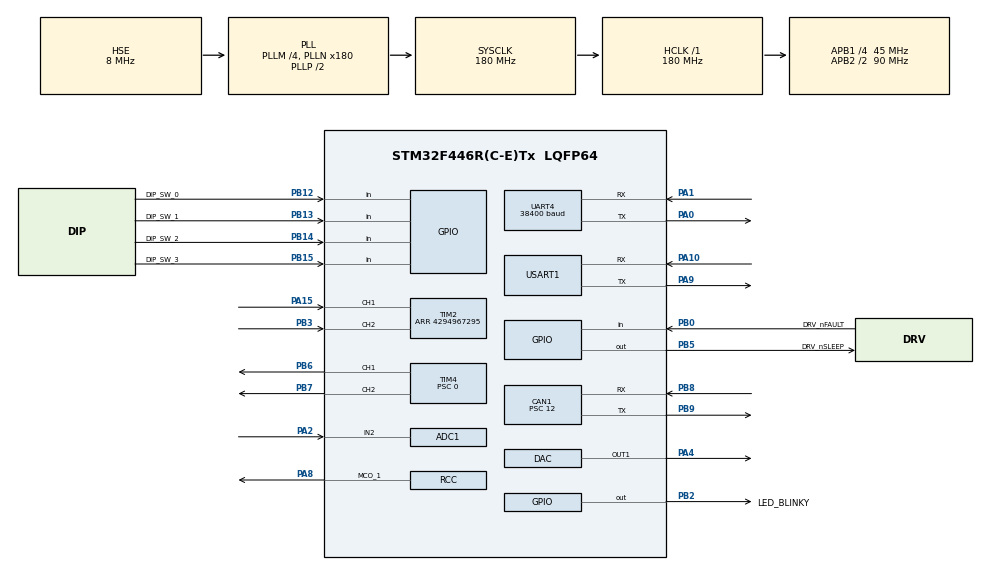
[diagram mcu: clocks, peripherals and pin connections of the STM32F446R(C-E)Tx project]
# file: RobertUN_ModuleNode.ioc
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ADC1.Channel-0\#ChannelRegularConversion=ADC_CHANNEL_2
ADC1.ClockPrescaler=ADC_CLOCK_SYNC_PCLK_DIV4
ADC1.NbrOfConversionFlag=1
ADC1.Rank-0\#ChannelRegularConversion=1
ADC1.SamplingTime-0\#ChannelRegularConversion=ADC_SAMPLETIME_28CYCLES
ADC1.master=1
CAN1.ABOM=ENABLE
CAN1.BS1=CAN_BS1_12TQ
CAN1.BS2=CAN_BS2_2TQ
CAN1.CalculateBaudRate=250000
CAN1.CalculateTimeBit=4000
CAN1.CalculateTimeQuantum=266.66666666666663
CAN1.NART=ENABLE
CAN1.Prescaler=12
CAN1.SJW=CAN_SJW_2TQ
DAC.DAC_OutputBuffer-DAC_OUT1=DAC_OUTPUTBUFFER_ENABLE
DAC.DAC_Trigger-DAC_OUT1=DAC_TRIGGER_NONE
Dma.Request0=USART1_RX
Dma.Request1=USART1_TX
Dma.Request2=UART4_RX
Dma.Request3=UART4_TX
Dma.UART4_RX.2.Direction=DMA_PERIPH_TO_MEMORY
Dma.UART4_RX.2.FIFOMode=DMA_FIFOMODE_DISABLE
Dma.UART4_RX.2.Instance=DMA1_Stream2
Dma.UART4_RX.2.MemDataAlignment=DMA_MDATAALIGN_BYTE
Dma.UART4_RX.2.MemInc=DMA_MINC_ENABLE
Dma.UART4_RX.2.Mode=DMA_CIRCULAR
Dma.UART4_RX.2.PeriphDataAlignment=DMA_PDATAALIGN_BYTE
Dma.UART4_RX.2.PeriphInc=DMA_PINC_DISABLE
Dma.UART4_RX.2.Priority=DMA_PRIORITY_LOW
Dma.UART4_TX.3.Direction=DMA_MEMORY_TO_PERIPH
Dma.UART4_TX.3.FIFOMode=DMA_FIFOMODE_DISABLE
Dma.UART4_TX.3.Instance=DMA1_Stream4
Dma.UART4_TX.3.MemDataAlignment=DMA_MDATAALIGN_BYTE
Dma.UART4_TX.3.MemInc=DMA_MINC_ENABLE
Dma.UART4_TX.3.Mode=DMA_NORMAL
Dma.UART4_TX.3.PeriphDataAlignment=DMA_PDATAALIGN_BYTE
Dma.UART4_TX.3.PeriphInc=DMA_PINC_DISABLE
Dma.UART4_TX.3.Priority=DMA_PRIORITY_LOW
Dma.USART1_RX.0.Direction=DMA_PERIPH_TO_MEMORY
Dma.USART1_RX.0.FIFOMode=DMA_FIFOMODE_DISABLE
Dma.USART1_RX.0.Instance=DMA2_Stream2
Dma.USART1_RX.0.MemDataAlignment=DMA_MDATAALIGN_BYTE
Dma.USART1_RX.0.MemInc=DMA_MINC_ENABLE
Dma.USART1_RX.0.Mode=DMA_CIRCULAR
Dma.USART1_RX.0.PeriphDataAlignment=DMA_PDATAALIGN_BYTE
Dma.USART1_RX.0.PeriphInc=DMA_PINC_DISABLE
Dma.USART1_RX.0.Priority=DMA_PRIORITY_LOW
Dma.USART1_TX.1.Direction=DMA_MEMORY_TO_PERIPH
Dma.USART1_TX.1.FIFOMode=DMA_FIFOMODE_DISABLE
Dma.USART1_TX.1.Instance=DMA2_Stream7
Dma.USART1_TX.1.MemDataAlignment=DMA_MDATAALIGN_BYTE
Dma.USART1_TX.1.MemInc=DMA_MINC_ENABLE
Dma.USART1_TX.1.Mode=DMA_NORMAL
Dma.USART1_TX.1.PeriphDataAlignment=DMA_PDATAALIGN_BYTE
Dma.USART1_TX.1.PeriphInc=DMA_PINC_DISABLE
Dma.USART1_TX.1.Priority=DMA_PRIORITY_LOW
Mcu.Family=STM32F4
Mcu.Name=STM32F446R(C-E)Tx
Mcu.Package=LQFP64
NVIC.CAN1_RX0_IRQn=true\:1\:0\:true\:false\:true\:true\:true\:true
NVIC.DMA1_Stream2_IRQn=true\:0\:0\:false\:false\:true\:false\:true\:true
NVIC.DMA1_Stream4_IRQn=true\:0\:0\:false\:false\:true\:false\:true\:true
NVIC.DMA2_Stream2_IRQn=true\:0\:0\:false\:false\:true\:false\:true\:true
NVIC.DMA2_Stream7_IRQn=true\:0\:0\:false\:false\:true\:false\:true\:true
NVIC.PriorityGroup=NVIC_PRIORITYGROUP_4
NVIC.TIM6_DAC_IRQn=true\:0\:0\:false\:false\:true\:true\:true\:true
NVIC.TIM7_IRQn=true\:0\:0\:false\:false\:true\:true\:true\:true
NVIC.UART4_IRQn=true\:0\:0\:false\:false\:true\:true\:true\:true
NVIC.USART1_IRQn=true\:0\:0\:false\:false\:true\:true\:true\:true
PA0-WKUP.Mode=Asynchronous
PA0-WKUP.Signal=UART4_TX
PA1.Mode=Asynchronous
PA1.Signal=UART4_RX
PA10.Mode=Asynchronous
PA10.Signal=USART1_RX
PA15.Signal=S_TIM2_CH1_ETR
PA2.Signal=ADCx_IN2
PA4.Signal=COMP_DAC1_group
PA8.GPIO_Speed=GPIO_SPEED_FREQ_VERY_HIGH
PA8.Mode=Clock-out-1
PA8.Signal=RCC_MCO_1
PA9.Mode=Asynchronous
PA9.Signal=USART1_TX
PB0.GPIO_Label=DRV_nFAULT
PB0.GPIO_PuPd=GPIO_PULLUP
PB0.Signal=GPIO_Input
PB12.GPIO_Label=DIP_SW_0
PB12.GPIO_PuPd=GPIO_PULLUP
PB12.Signal=GPIO_Input
PB13.GPIO_Label=DIP_SW_1
PB13.GPIO_PuPd=GPIO_PULLUP
PB13.Signal=GPIO_Input
PB14.GPIO_Label=DIP_SW_2
PB14.GPIO_PuPd=GPIO_PULLUP
PB14.Signal=GPIO_Input
PB15.GPIO_Label=DIP_SW_3
PB15.GPIO_PuPd=GPIO_PULLUP
PB15.Signal=GPIO_Input
PB2.GPIO_Label=LED_BLINKY
PB2.Signal=GPIO_Output
PB3.Signal=S_TIM2_CH2
PB5.GPIO_Label=DRV_nSLEEP
PB5.Signal=GPIO_Output
PB6.Signal=S_TIM4_CH1
PB7.Signal=S_TIM4_CH2
PB8.Mode=CAN_Activate
PB8.Signal=CAN1_RX
PB9.Mode=CAN_Activate
PB9.Signal=CAN1_TX
PC14-OSC32_IN.Mode=LSE-External-Oscillator
PC14-OSC32_IN.Signal=RCC_OSC32_IN
PC15-OSC32_OUT.Mode=LSE-External-Oscillator
PC15-OSC32_OUT.Signal=RCC_OSC32_OUT
PH0-OSC_IN.Mode=HSE-External-Oscillator
PH0-OSC_IN.Signal=RCC_OSC_IN
PH1-OSC_OUT.Mode=HSE-External-Oscillator
PH1-OSC_OUT.Signal=RCC_OSC_OUT
ProjectManager.HeapSize=0x200
ProjectManager.StackSize=0x400
ProjectManager.TargetToolchain=CMake
RCC.AHBFreq_Value=180000000
RCC.APB1CLKDivider=RCC_HCLK_DIV4
RCC.APB1Freq_Value=45000000
RCC.APB1TimFreq_Value=90000000
RCC.APB2CLKDivider=RCC_HCLK_DIV2
RCC.APB2Freq_Value=90000000
RCC.APB2TimFreq_Value=180000000
RCC.CortexFreq_Value=180000000
RCC.HCLKFreq_Value=180000000
RCC.HSE_VALUE=8000000
RCC.PLLM=4
RCC.PLLN=180
RCC.PLLSourceVirtual=RCC_PLLSOURCE_HSE
RCC.RCC_MCO1Source=RCC_MCO1SOURCE_HSE
RCC.RCC_MCO2Source=RCC_MCO2SOURCE_PLLCLK
RCC.RCC_MCODiv2=RCC_MCODIV_5
RCC.SYSCLKFreq_VALUE=180000000
RCC.SYSCLKSource=RCC_SYSCLKSOURCE_PLLCLK
RCC.USBFreq_Value=180000000
RCC.VCOOutputFreq_Value=360000000
SH.ADCx_IN2.0=ADC1_IN2,IN2
SH.COMP_DAC1_group.0=DAC_OUT1,DAC_OUT1
SH.S_TIM2_CH1_ETR.0=TIM2_CH1,Encoder_Interface
SH.S_TIM2_CH2.0=TIM2_CH2,Encoder_Interface
SH.S_TIM4_CH1.0=TIM4_CH1,PWM Generation1 CH1
SH.S_TIM4_CH2.0=TIM4_CH2,PWM Generation2 CH2
TIM2.EncoderMode=TIM_ENCODERMODE_TI12
TIM2.IC1Filter=15
TIM2.IC2Filter=15
TIM2.Period=4294967295
TIM4.AutoReloadPreload=TIM_AUTORELOAD_PRELOAD_ENABLE
TIM4.Channel-PWM\ Generation1\ CH1=TIM_CHANNEL_1
TIM4.Channel-PWM\ Generation2\ CH2=TIM_CHANNEL_2
TIM4.Period=4499
TIM4.Prescaler=0
TIM6.AutoReloadPreload=TIM_AUTORELOAD_PRELOAD_ENABLE
TIM6.Period=999
TIM6.Prescaler=89
TIM7.AutoReloadPreload=TIM_AUTORELOAD_PRELOAD_ENABLE
TIM7.Period=25000
TIM7.Prescaler=1800
UART4.BaudRate=38400
UART4.VirtualMode=Asynchronous
USART1.VirtualMode=VM_ASYNC
VP_TIM6_VS_ClockSourceINT.Mode=Enable_Timer
VP_TIM7_VS_ClockSourceINT.Mode=Enable_Timer
board=custom

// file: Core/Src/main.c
/* USER CODE BEGIN Header */
/**
  ******************************************************************************
  * @file           : main.c
  * @brief          : Main program body
  ******************************************************************************
  * @attention
  *
  * Copyright (c) 2026 STMicroelectronics.
  * All rights reserved.
  *
  * This software is licensed under terms that can be found in the LICENSE file
  * in the root directory of this software component.
  * If no LICENSE file comes with this software, it is provided AS-IS.
  *
  ******************************************************************************
  */
/* USER CODE END Header */
#include "main.h"

/* USER CODE BEGIN Includes */
/* claude --resume 436a6188-32d4-441d-abe8-485a62b8645e */
#include "debug_uart.h"
#include "can_bus.h"
#include "console.h"
#include "mks_servo.h"
#include "encoder.h"
#include "drive.h"
#include "velocity.h"
#include "isense.h"
#include "config.h"
#include "dipsw.h"
#include "motion.h"
#include "can_cmd.h"
#include "steer.h"
/* USER CODE END Includes */

ADC_HandleTypeDef hadc1;

CAN_HandleTypeDef hcan1;

DAC_HandleTypeDef hdac;

TIM_HandleTypeDef htim2;
TIM_HandleTypeDef htim4;
TIM_HandleTypeDef htim6;
TIM_HandleTypeDef htim7;

UART_HandleTypeDef huart4;
UART_HandleTypeDef huart1;
DMA_HandleTypeDef hdma_uart4_rx;
DMA_HandleTypeDef hdma_uart4_tx;
DMA_HandleTypeDef hdma_usart1_rx;
DMA_HandleTypeDef hdma_usart1_tx;

/* USER CODE BEGIN PV */
static volatile bool heartbeat_due;   /* set by the TIM7 ISR, cleared in main */
/* USER CODE END PV */

void SystemClock_Config(void);
static void MX_GPIO_Init(void);
static void MX_DMA_Init(void);
static void MX_CAN1_Init(void);
static void MX_TIM2_Init(void);
static void MX_TIM4_Init(void);
static void MX_TIM6_Init(void);
static void MX_TIM7_Init(void);
static void MX_USART1_UART_Init(void);
static void MX_UART4_Init(void);
static void MX_ADC1_Init(void);
static void MX_DAC_Init(void);

int main(void)
{

  /* MCU Configuration--------------------------------------------------------*/

  /* Reset of all peripherals, Initializes the Flash interface and the Systick. */
  HAL_Init();

  /* Configure the system clock */
  SystemClock_Config();

  /* Initialize all configured peripherals */
  MX_GPIO_Init();
  MX_DMA_Init();
  MX_CAN1_Init();
  MX_TIM2_Init();
  MX_TIM4_Init();
  MX_TIM6_Init();
  MX_TIM7_Init();
  MX_USART1_UART_Init();
  MX_UART4_Init();
  MX_ADC1_Init();
  MX_DAC_Init();
  /* USER CODE BEGIN 2 */
  /* Identity first, and never again - see dipsw.h. Nothing below may read the
     pins; everything reads the latch. */
  dipsw_init();

  /* FIRST. drive_init() takes its duty cap from here and isense_init() takes
     the trip and the whole current scale, so anything that reads a config key
     must start after this line. Reported below, once the console is up. */
  config_load_t cfg_status = config_init();

  /* Assert the off state by name, rather than depending on a reader noticing
     that Pulse = 0 in generated code. */
  drive_init();
  encoder_init();
  isense_init();

  /* AFTER drive_init() and encoder_init(): it reads drive_limit() to know its
     own output ceiling and encoder_velocity_seq() to seed its freshness test.
     It comes up DISARMED - velocity_enable() is a deliberate act. */
  velocity_init();

  debug_uart_status_t uart_status = debug_uart_init();

  debug_uart_puts("\r\n\r\n=== RobertUN node - USART1 console up (115200 8N1) ===\r\n");

  if (uart_status != DEBUG_UART_OK)
  {
    debug_uart_puts("WARNING: RX not running - set USART1_RX DMA to Circular in CubeMX\r\n");
  }

  if (!can_bus_init())
  {
    debug_uart_puts("ERROR: CAN1 failed to start\r\n");
  }

  can_cmd_init();

  if (!mks_init())
  {
    debug_uart_puts("ERROR: MKS link not running - check UART4_RX DMA is Circular\r\n");
  }

  {
    uint16_t used, total;
    config_usage(&used, &total);

    debug_uart_printf("config: %s (slot %u/%u)\r\n",
                      config_load_str(cfg_status), (unsigned)used, (unsigned)total);
  }

  /* Said twice on purpose. A board silently running on defaults because its
     stored record failed a CRC looks exactly like one deliberately left at
     defaults, and the difference matters when the numbers stop adding up. */
  if ((cfg_status == CONFIG_LOAD_CORRUPT) ||
      (cfg_status == CONFIG_LOAD_VERSION) ||
      (cfg_status == CONFIG_LOAD_CLAMPED))
  {
    debug_uart_puts("WARNING: stored configuration was not usable as-is."
                    " Check 'cfg', then 'cfg save' to rewrite it.\r\n");
  }

  debug_uart_printf("module: ID %u, %s\r\n",
                    (unsigned)dipsw_id(), dipsw_role_str(dipsw_role()));

  /* The one boot line that decides whether this board is allowed on the bus.
     0b1111 is what an unfitted switch block reads, so this fires on a bare
     bench board - which is the design working, not a fault. The role text
     above already says which invalid code it is (unconfigured or broadcast). */
  if (!dipsw_valid())
  {
    debug_uart_puts("WARNING: no module identity - CAN transmit is disabled."
                    " Set DIP_SW_0..3 (PB12..PB15) to an ID 1-14.\r\n");
  }
  else
  {
    debug_uart_printf("        CAN node ID 0x%03lX\r\n",
                      (unsigned long)dipsw_can_id());
  }

  debug_uart_printf("drive: disabled (nSLEEP low, PWM 0%%, %u kHz), nFAULT=%s\r\n",
                    (unsigned)(DRIVE_PWM_HZ / 1000u),
                    drive_faulted() ? "ASSERTED" : "clear");
  debug_uart_printf("encoder: TIM2 32-bit, %.1f counts/output-rev, tick 1 kHz\r\n",
                    (double)ENCODER_COUNTS_PER_OUTPUT_REV);
  /* Both numbers, every boot. The carrier is modified — VREF is no longer
     tied to nSLEEP — so the ceiling and the trip are independent and a log
     that records only one of them cannot be interpreted later. */
  debug_uart_printf("isense: ADC1_IN2 on PA2, ceiling %u mA"
                    " (R_IPROPI %ld ohm, MODIFIED carrier)\r\n",
                    (unsigned)isense_full_scale_ma(),
                    (long)config_get(CFG_R_IPROPI_OHM));
  debug_uart_printf("vref:   DAC1_OUT1 on PA4, trip armed at %lu mA"
                    " (%u mV, buffer %s)\r\n",
                    (unsigned long)isense_trip_ma(),
                    (unsigned)isense_vref_mv(),
                    isense_vref_buffered() ? "on" : "off");

  if (isense_trip_ma() == 0u)
  {
    debug_uart_puts("WARNING: trip is 0 mA - VREF is not being driven, and the"
                    " motor will not turn.\r\n"
                    "  Check MX_DAC_Init() exists and PA4 is DAC_OUT1.\r\n");
  }

  console_init();
  /* USER CODE END 2 */

  /* Infinite loop */
  while (1)
  {

    /* USER CODE BEGIN 3 */
    console_poll();

    mks_poll();            /* advance the SERVO42C transaction state machine */
    motion_poll();         /* a pending ESTOP/STOP servo stop goes out here */
    steer_poll();          /* CAN steering: its own completions, queued target */
    console_report_mks();  /* print its outcome once it lands */
    console_report_encoder();  /* live counts while `enc watch on` */
    console_report_telem();    /* machine stream while `telem on`  */

    /* Heartbeat: one frame per TIM7 tick (~0.5 s), same cadence as the LED so
       the blink doubles as a visual "this node is transmitting". */
    if (heartbeat_due)
    {
      heartbeat_due = false;   /* cleared even when muted, so re-enabling
                                  waits for the next tick instead of firing
                                  on a stale flag */

      if (console_heartbeat_enabled())
      {
        static uint32_t seq;
        uint8_t payload[8];
        can_bus_err_t err;

        can_bus_errors(&err);   /* one ESR read for the frame and the log line */

        payload[0] = (uint8_t)(seq >> 24);
        payload[1] = (uint8_t)(seq >> 16);
        payload[2] = (uint8_t)(seq >> 8);
        payload[3] = (uint8_t)seq;
        payload[4] = err.tec;
        payload[5] = err.rec;
        payload[6] = err.lec;
        payload[7] = (uint8_t)((err.bus_off ? 0x04u : 0u) |
                               (err.passive ? 0x02u : 0u) |
                               (err.warning ? 0x01u : 0u));

        /* Identity gates the transmit, not just the ID. A board with no
           switches fitted would otherwise heartbeat at the base address and
           collide with module 0 - and on a six-node bus that does not present
           as "wrong ID", it presents as arbitration chaos. */
        bool sent = dipsw_valid() &&
                    can_bus_send(dipsw_can_id(), payload, sizeof(payload));
        seq++;

        /* TEC/REC and the last-error code are the on-chip equivalent of Orion's
           berr-counter — with no second node answering, expect lec=ack. */
        debug_uart_printf("hb %lu %s | tec %u rec %u lec %s%s%s%s\r\n",
                          (unsigned long)seq,
                          sent ? "queued"
                               : (dipsw_valid() ? "NO MAILBOX" : "NO ID"),
                          err.tec,
                          err.rec,
                          can_bus_lec_str(err.lec),
                          err.warning ? " WARN"    : "",
                          err.passive ? " PASSIVE" : "",
                          err.bus_off ? " BUS-OFF" : "");
      }
    }

    /* Drain anything the accept-all filter let through. The FIFO is emptied
       whether or not it is being printed — leaving frames queued would stall
       reception once all three slots fill. */
    can_frame_t rx;

    while (!console_can_hold_active() && can_bus_receive(&rx))
    {
      if (console_monitor_enabled())
      {
        debug_uart_printf("can rx %s 0x%03lX [%u] ",
                          rx.ext ? "ext" : "std",
                          (unsigned long)rx.id,
                          rx.dlc);
        debug_uart_write_hex(rx.data, rx.dlc);
        debug_uart_puts("\r\n");
      }

      can_cmd_handle(&rx);   /* W6 command layer: decode, act, answer */
    }

    can_cmd_poll();          /* pending FAULT frames, rate-limited */
  }
  /* USER CODE END 3 */
}

void SystemClock_Config(void)
{
  RCC_OscInitTypeDef RCC_OscInitStruct = {0};
  RCC_ClkInitTypeDef RCC_ClkInitStruct = {0};

  /** Configure the main internal regulator output voltage
  */
  __HAL_RCC_PWR_CLK_ENABLE();
  __HAL_PWR_VOLTAGESCALING_CONFIG(PWR_REGULATOR_VOLTAGE_SCALE1);

  /** Initializes the RCC Oscillators according to the specified parameters
  * in the RCC_OscInitTypeDef structure.
  */
  RCC_OscInitStruct.OscillatorType = RCC_OSCILLATORTYPE_HSE;
  RCC_OscInitStruct.HSEState = RCC_HSE_ON;
  RCC_OscInitStruct.PLL.PLLState = RCC_PLL_ON;
  RCC_OscInitStruct.PLL.PLLSource = RCC_PLLSOURCE_HSE;
  RCC_OscInitStruct.PLL.PLLM = 4;
  RCC_OscInitStruct.PLL.PLLN = 180;
  RCC_OscInitStruct.PLL.PLLP = RCC_PLLP_DIV2;
  RCC_OscInitStruct.PLL.PLLQ = 2;
  RCC_OscInitStruct.PLL.PLLR = 2;
  if (HAL_RCC_OscConfig(&RCC_OscInitStruct) != HAL_OK)
  {
    Error_Handler();
  }

  /** Activate the Over-Drive mode
  */
  if (HAL_PWREx_EnableOverDrive() != HAL_OK)
  {
    Error_Handler();
  }

  /** Initializes the CPU, AHB and APB buses clocks
  */
  RCC_ClkInitStruct.ClockType = RCC_CLOCKTYPE_HCLK|RCC_CLOCKTYPE_SYSCLK
                              |RCC_CLOCKTYPE_PCLK1|RCC_CLOCKTYPE_PCLK2;
  RCC_ClkInitStruct.SYSCLKSource = RCC_SYSCLKSOURCE_PLLCLK;
  RCC_ClkInitStruct.AHBCLKDivider = RCC_SYSCLK_DIV1;
  RCC_ClkInitStruct.APB1CLKDivider = RCC_HCLK_DIV4;
  RCC_ClkInitStruct.APB2CLKDivider = RCC_HCLK_DIV2;

  if (HAL_RCC_ClockConfig(&RCC_ClkInitStruct, FLASH_LATENCY_5) != HAL_OK)
  {
    Error_Handler();
  }
  HAL_RCC_MCOConfig(RCC_MCO1, RCC_MCO1SOURCE_HSE, RCC_MCODIV_1);
}

static void MX_ADC1_Init(void)
{

  ADC_ChannelConfTypeDef sConfig = {0};

  /** Configure the global features of the ADC (Clock, Resolution, Data Alignment and number of conversion)
  */
  hadc1.Instance = ADC1;
  hadc1.Init.ClockPrescaler = ADC_CLOCK_SYNC_PCLK_DIV4;
  hadc1.Init.Resolution = ADC_RESOLUTION_12B;
  hadc1.Init.ScanConvMode = DISABLE;
  hadc1.Init.ContinuousConvMode = DISABLE;
  hadc1.Init.DiscontinuousConvMode = DISABLE;
  hadc1.Init.ExternalTrigConvEdge = ADC_EXTERNALTRIGCONVEDGE_NONE;
  hadc1.Init.ExternalTrigConv = ADC_SOFTWARE_START;
  hadc1.Init.DataAlign = ADC_DATAALIGN_RIGHT;
  hadc1.Init.NbrOfConversion = 1;
  hadc1.Init.DMAContinuousRequests = DISABLE;
  hadc1.Init.EOCSelection = ADC_EOC_SINGLE_CONV;
  if (HAL_ADC_Init(&hadc1) != HAL_OK)
  {
    Error_Handler();
  }

  /** Configure for the selected ADC regular channel its corresponding rank in the sequencer and its sample time.
  */
  sConfig.Channel = ADC_CHANNEL_2;
  sConfig.Rank = 1;
  sConfig.SamplingTime = ADC_SAMPLETIME_28CYCLES;
  if (HAL_ADC_ConfigChannel(&hadc1, &sConfig) != HAL_OK)
  {
    Error_Handler();
  }

}

static void MX_CAN1_Init(void)
{

  hcan1.Instance = CAN1;
  hcan1.Init.Prescaler = 12;
  hcan1.Init.Mode = CAN_MODE_NORMAL;
  hcan1.Init.SyncJumpWidth = CAN_SJW_2TQ;
  hcan1.Init.TimeSeg1 = CAN_BS1_12TQ;
  hcan1.Init.TimeSeg2 = CAN_BS2_2TQ;
  hcan1.Init.TimeTriggeredMode = DISABLE;
  hcan1.Init.AutoBusOff = ENABLE;
  hcan1.Init.AutoWakeUp = DISABLE;
  hcan1.Init.AutoRetransmission = ENABLE;
  hcan1.Init.ReceiveFifoLocked = DISABLE;
  hcan1.Init.TransmitFifoPriority = DISABLE;
  if (HAL_CAN_Init(&hcan1) != HAL_OK)
  {
    Error_Handler();
  }

}

static void MX_DAC_Init(void)
{

  DAC_ChannelConfTypeDef sConfig = {0};

  /** DAC Initialization
  */
  hdac.Instance = DAC;
  if (HAL_DAC_Init(&hdac) != HAL_OK)
  {
    Error_Handler();
  }

  /** DAC channel OUT1 config
  */
  sConfig.DAC_Trigger = DAC_TRIGGER_NONE;
  sConfig.DAC_OutputBuffer = DAC_OUTPUTBUFFER_ENABLE;
  if (HAL_DAC_ConfigChannel(&hdac, &sConfig, DAC_CHANNEL_1) != HAL_OK)
  {
    Error_Handler();
  }

}

static void MX_TIM2_Init(void)
{

  TIM_Encoder_InitTypeDef sConfig = {0};
  TIM_MasterConfigTypeDef sMasterConfig = {0};

  htim2.Instance = TIM2;
  htim2.Init.Prescaler = 0;
  htim2.Init.CounterMode = TIM_COUNTERMODE_UP;
  htim2.Init.Period = 4294967295;
  htim2.Init.ClockDivision = TIM_CLOCKDIVISION_DIV1;
  htim2.Init.AutoReloadPreload = TIM_AUTORELOAD_PRELOAD_DISABLE;
  sConfig.EncoderMode = TIM_ENCODERMODE_TI12;
  sConfig.IC1Polarity = TIM_ICPOLARITY_RISING;
  sConfig.IC1Selection = TIM_ICSELECTION_DIRECTTI;
  sConfig.IC1Prescaler = TIM_ICPSC_DIV1;
  sConfig.IC1Filter = 15;
  sConfig.IC2Polarity = TIM_ICPOLARITY_RISING;
  sConfig.IC2Selection = TIM_ICSELECTION_DIRECTTI;
  sConfig.IC2Prescaler = TIM_ICPSC_DIV1;
  sConfig.IC2Filter = 15;
  if (HAL_TIM_Encoder_Init(&htim2, &sConfig) != HAL_OK)
  {
    Error_Handler();
  }
  sMasterConfig.MasterOutputTrigger = TIM_TRGO_RESET;
  sMasterConfig.MasterSlaveMode = TIM_MASTERSLAVEMODE_DISABLE;
  if (HAL_TIMEx_MasterConfigSynchronization(&htim2, &sMasterConfig) != HAL_OK)
  {
    Error_Handler();
  }

}

static void MX_TIM4_Init(void)
{

  TIM_MasterConfigTypeDef sMasterConfig = {0};
  TIM_OC_InitTypeDef sConfigOC = {0};

  htim4.Instance = TIM4;
  htim4.Init.Prescaler = 0;
  htim4.Init.CounterMode = TIM_COUNTERMODE_UP;
  htim4.Init.Period = 4499;
  htim4.Init.ClockDivision = TIM_CLOCKDIVISION_DIV1;
  htim4.Init.AutoReloadPreload = TIM_AUTORELOAD_PRELOAD_ENABLE;
  if (HAL_TIM_PWM_Init(&htim4) != HAL_OK)
  {
    Error_Handler();
  }
  sMasterConfig.MasterOutputTrigger = TIM_TRGO_RESET;
  sMasterConfig.MasterSlaveMode = TIM_MASTERSLAVEMODE_DISABLE;
  if (HAL_TIMEx_MasterConfigSynchronization(&htim4, &sMasterConfig) != HAL_OK)
  {
    Error_Handler();
  }
  sConfigOC.OCMode = TIM_OCMODE_PWM1;
  sConfigOC.Pulse = 0;
  sConfigOC.OCPolarity = TIM_OCPOLARITY_HIGH;
  sConfigOC.OCFastMode = TIM_OCFAST_DISABLE;
  if (HAL_TIM_PWM_ConfigChannel(&htim4, &sConfigOC, TIM_CHANNEL_1) != HAL_OK)
  {
    Error_Handler();
  }
  if (HAL_TIM_PWM_ConfigChannel(&htim4, &sConfigOC, TIM_CHANNEL_2) != HAL_OK)
  {
    Error_Handler();
  }
  HAL_TIM_MspPostInit(&htim4);

}

static void MX_TIM6_Init(void)
{

  TIM_MasterConfigTypeDef sMasterConfig = {0};

  htim6.Instance = TIM6;
  htim6.Init.Prescaler = 89;
  htim6.Init.CounterMode = TIM_COUNTERMODE_UP;
  htim6.Init.Period = 999;
  htim6.Init.AutoReloadPreload = TIM_AUTORELOAD_PRELOAD_ENABLE;
  if (HAL_TIM_Base_Init(&htim6) != HAL_OK)
  {
    Error_Handler();
  }
  sMasterConfig.MasterOutputTrigger = TIM_TRGO_RESET;
  sMasterConfig.MasterSlaveMode = TIM_MASTERSLAVEMODE_DISABLE;
  if (HAL_TIMEx_MasterConfigSynchronization(&htim6, &sMasterConfig) != HAL_OK)
  {
    Error_Handler();
  }
  /* USER CODE BEGIN TIM6_Init 2 */
  /* 90 MHz APB1 timer clock / (89+1) / (999+1) = 1.000 kHz exactly.
     This is the control-loop tick. Deliberately NOT TIM7, which is the 2 Hz
     heartbeat — a control loop must not share a timer with a status blink. */
  HAL_TIM_Base_Start_IT(&htim6);
  /* USER CODE END TIM6_Init 2 */

}

static void MX_TIM7_Init(void)
{

  TIM_MasterConfigTypeDef sMasterConfig = {0};

  htim7.Instance = TIM7;
  htim7.Init.Prescaler = 1800;
  htim7.Init.CounterMode = TIM_COUNTERMODE_UP;
  htim7.Init.Period = 25000;
  htim7.Init.AutoReloadPreload = TIM_AUTORELOAD_PRELOAD_ENABLE;
  if (HAL_TIM_Base_Init(&htim7) != HAL_OK)
  {
    Error_Handler();
  }
  sMasterConfig.MasterOutputTrigger = TIM_TRGO_RESET;
  sMasterConfig.MasterSlaveMode = TIM_MASTERSLAVEMODE_DISABLE;
  if (HAL_TIMEx_MasterConfigSynchronization(&htim7, &sMasterConfig) != HAL_OK)
  {
    Error_Handler();
  }
  /* USER CODE BEGIN TIM7_Init 2 */
  HAL_TIM_Base_Start_IT(&htim7);
  /* USER CODE END TIM7_Init 2 */

}

static void MX_UART4_Init(void)
{

  huart4.Instance = UART4;
  huart4.Init.BaudRate = 38400;
  huart4.Init.WordLength = UART_WORDLENGTH_8B;
  huart4.Init.StopBits = UART_STOPBITS_1;
  huart4.Init.Parity = UART_PARITY_NONE;
  huart4.Init.Mode = UART_MODE_TX_RX;
  huart4.Init.HwFlowCtl = UART_HWCONTROL_NONE;
  huart4.Init.OverSampling = UART_OVERSAMPLING_16;
  if (HAL_UART_Init(&huart4) != HAL_OK)
  {
    Error_Handler();
  }

}

static void MX_USART1_UART_Init(void)
{

  huart1.Instance = USART1;
  huart1.Init.BaudRate = 115200;
  huart1.Init.WordLength = UART_WORDLENGTH_8B;
  huart1.Init.StopBits = UART_STOPBITS_1;
  huart1.Init.Parity = UART_PARITY_NONE;
  huart1.Init.Mode = UART_MODE_TX_RX;
  huart1.Init.HwFlowCtl = UART_HWCONTROL_NONE;
  huart1.Init.OverSampling = UART_OVERSAMPLING_16;
  if (HAL_UART_Init(&huart1) != HAL_OK)
  {
    Error_Handler();
  }

}

static void MX_DMA_Init(void)
{

  /* DMA controller clock enable */
  __HAL_RCC_DMA2_CLK_ENABLE();
  __HAL_RCC_DMA1_CLK_ENABLE();

  /* DMA interrupt init */
  /* DMA1_Stream2_IRQn interrupt configuration */
  HAL_NVIC_SetPriority(DMA1_Stream2_IRQn, 0, 0);
  HAL_NVIC_EnableIRQ(DMA1_Stream2_IRQn);
  /* DMA1_Stream4_IRQn interrupt configuration */
  HAL_NVIC_SetPriority(DMA1_Stream4_IRQn, 0, 0);
  HAL_NVIC_EnableIRQ(DMA1_Stream4_IRQn);
  /* DMA2_Stream2_IRQn interrupt configuration */
  HAL_NVIC_SetPriority(DMA2_Stream2_IRQn, 0, 0);
  HAL_NVIC_EnableIRQ(DMA2_Stream2_IRQn);
  /* DMA2_Stream7_IRQn interrupt configuration */
  HAL_NVIC_SetPriority(DMA2_Stream7_IRQn, 0, 0);
  HAL_NVIC_EnableIRQ(DMA2_Stream7_IRQn);

}

static void MX_GPIO_Init(void)
{
  GPIO_InitTypeDef GPIO_InitStruct = {0};

  /* GPIO Ports Clock Enable */
  __HAL_RCC_GPIOC_CLK_ENABLE();
  __HAL_RCC_GPIOH_CLK_ENABLE();
  __HAL_RCC_GPIOA_CLK_ENABLE();
  __HAL_RCC_GPIOB_CLK_ENABLE();

  /*Configure GPIO pin Output Level */
  HAL_GPIO_WritePin(GPIOB, LED_BLINKY_Pin|DRV_nSLEEP_Pin, GPIO_PIN_RESET);

  /*Configure GPIO pins : DRV_nFAULT_Pin DIP_SW_0_Pin DIP_SW_1_Pin DIP_SW_2_Pin
                           DIP_SW_3_Pin */
  GPIO_InitStruct.Pin = DRV_nFAULT_Pin|DIP_SW_0_Pin|DIP_SW_1_Pin|DIP_SW_2_Pin
                          |DIP_SW_3_Pin;
  GPIO_InitStruct.Mode = GPIO_MODE_INPUT;
  GPIO_InitStruct.Pull = GPIO_PULLUP;
  HAL_GPIO_Init(GPIOB, &GPIO_InitStruct);

  /*Configure GPIO pins : LED_BLINKY_Pin DRV_nSLEEP_Pin */
  GPIO_InitStruct.Pin = LED_BLINKY_Pin|DRV_nSLEEP_Pin;
  GPIO_InitStruct.Mode = GPIO_MODE_OUTPUT_PP;
  GPIO_InitStruct.Pull = GPIO_NOPULL;
  GPIO_InitStruct.Speed = GPIO_SPEED_FREQ_LOW;
  HAL_GPIO_Init(GPIOB, &GPIO_InitStruct);

  /*Configure GPIO pin : PA8 */
  GPIO_InitStruct.Pin = GPIO_PIN_8;
  GPIO_InitStruct.Mode = GPIO_MODE_AF_PP;
  GPIO_InitStruct.Pull = GPIO_NOPULL;
  GPIO_InitStruct.Speed = GPIO_SPEED_FREQ_VERY_HIGH;
  GPIO_InitStruct.Alternate = GPIO_AF0_MCO;
  HAL_GPIO_Init(GPIOA, &GPIO_InitStruct);

  /* USER CODE BEGIN MX_GPIO_Init_2 */
  /* PB6/PB7 belong to TIM4, but MX_TIM4_Init() does not run until later in
     main() — until then they would sit as floating inputs on the DRV8833's
     IN pins. Park them as outputs driven low now so the driver inputs are
     defined for the whole of startup.

     ODR is written before MODER so the pin never drives an undefined level:
     writing ODR while the pin is still an input is harmless and simply
     pre-loads the value the output latch will present. HAL_TIM_MspPostInit()
     switches both to AF2 afterwards with CCR already 0, so the handover is
     low-to-low and produces no pulse on the motor. */
  HAL_GPIO_WritePin(GPIOB, DRV_PWM_A_Pin|DRV_PWM_B_Pin, GPIO_PIN_RESET);

  GPIO_InitStruct.Pin = DRV_PWM_A_Pin|DRV_PWM_B_Pin;
  GPIO_InitStruct.Mode = GPIO_MODE_OUTPUT_PP;
  GPIO_InitStruct.Pull = GPIO_NOPULL;
  GPIO_InitStruct.Speed = GPIO_SPEED_FREQ_LOW;
  HAL_GPIO_Init(GPIOB, &GPIO_InitStruct);
  /* USER CODE END MX_GPIO_Init_2 */
}

/* USER CODE BEGIN 4 */
void HAL_TIM_PeriodElapsedCallback(TIM_HandleTypeDef *htim){
  if(htim->Instance == TIM7){
      HAL_GPIO_TogglePin(LED_BLINKY_GPIO_Port, LED_BLINKY_Pin);
      heartbeat_due = true;   /* the frame itself is sent from the main loop */
  }
  else if(htim->Instance == TIM6){
      /* Sampled here rather than in the main loop on purpose: velocity is a
         difference divided by an interval, so jitter in WHEN the counter is
         read shows up directly as noise in the reading. The call reads one
         register and does integer arithmetic. */
      encoder_on_tick();

      /* nFAULT is open-drain and the driver may assert it for a few hundred
         microseconds and recover. Sampling here rather than in the main loop
         is what makes a transient visible at all: the console runs whenever it
         runs, and a fault that clears before the next `drv` leaves no trace. */
      drive_on_tick();

      /* LAST, and after drive_on_tick() specifically. The loop's output goes
         through drive_set_duty(), so it must run against a bridge whose slew
         limiter and watchdog have already advanced this tick - otherwise the
         loop reads drive_slewing() one tick stale and freezes its integrator
         at the wrong moments. It returns immediately unless the encoder's
         velocity window has closed, so it costs almost nothing 19 ticks in
         20. */
      velocity_on_tick();
  }
}
/* USER CODE END 4 */

void Error_Handler(void)
{
  __disable_irq();
  while (1)
  {
  }
}
